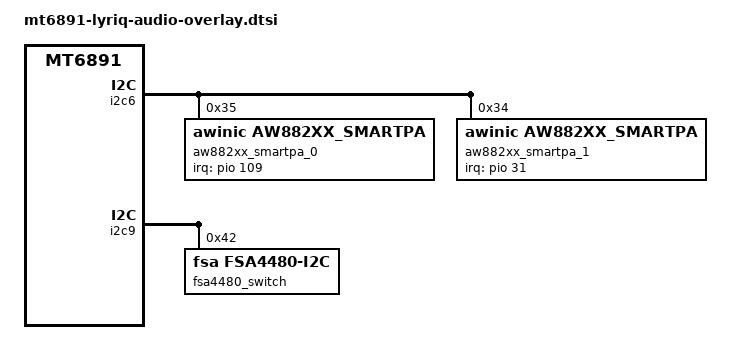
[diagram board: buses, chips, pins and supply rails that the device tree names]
&sound {
    compatible = "mediatek,mt6885-mt6359-sound";
    mediatek,audio-codec = <&mt6359_snd>;
    mediatek,platform = <&afe>;
    mediatek,snd_audio_dsp = <&snd_audio_dsp>;
    mtk_spk_i2s_out = <3>;
    mtk_spk_i2s_in = <9>;
    /* mtk_spk_i2s_mck = <3>; */
    mediatek,speaker-codec {
        sound-dai = <&aw882xx_smartpa_0 &aw882xx_smartpa_1>;
    };
};


&i2c6 {
    speaker_amp: speaker_amp@34 {
        compatible = "mediatek,speaker_amp";
        #sound-dai-cells = <0>;
        reg = <0x34>;
        status = "disable";
    };

    aw882xx_smartpa_0: aw882xx@35 {
        compatible = "awinic,aw882xx_smartpa";
        #sound-dai-cells = <0>;
        reg = <0x35>;
        irq-gpio = <&pio 109 0x0>;
        sound-channel = <0>;
        status = "okay";
    };

    aw882xx_smartpa_1: aw882xx@34 {
        compatible = "awinic,aw882xx_smartpa";
        #sound-dai-cells = <0>;
        reg = <0x34>;
        irq-gpio = <&pio 31 0x0>;
        sound-channel = <1>;
        status = "okay";
    };

};

&i2c9 {
    fsa4480_switch: fsa4480@42 {
        compatible = "fsa,fsa4480-i2c";
        reg = <0x42>;
        status = "okay";
    };
};

